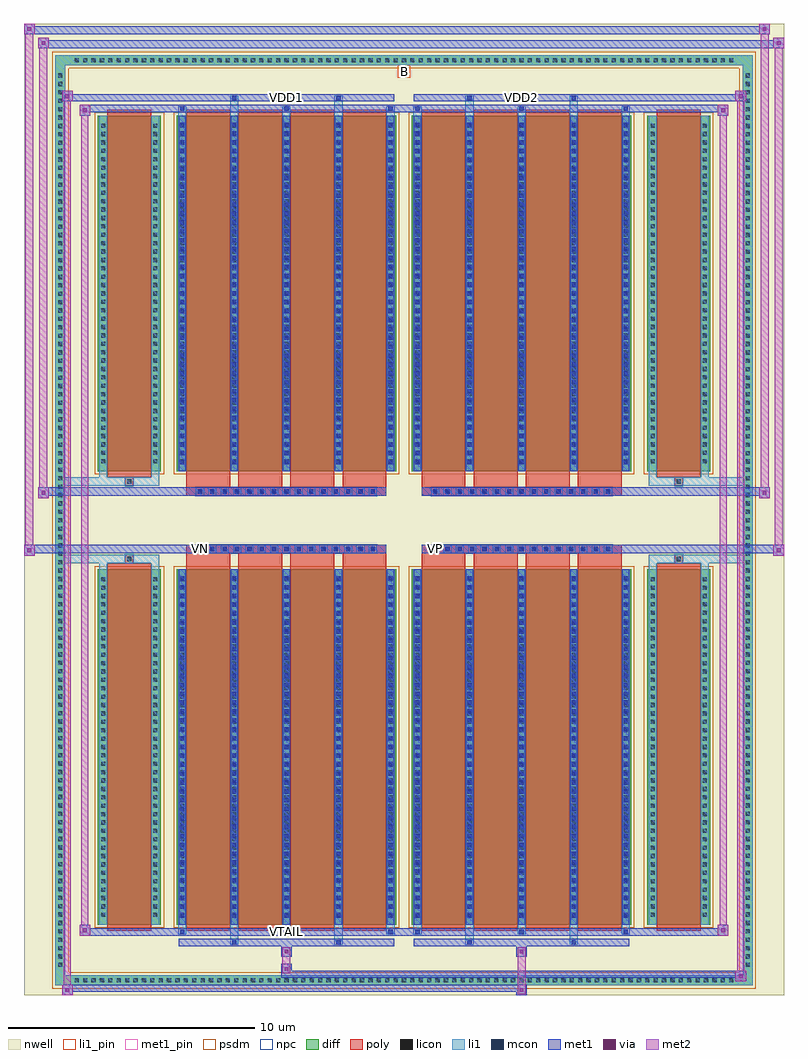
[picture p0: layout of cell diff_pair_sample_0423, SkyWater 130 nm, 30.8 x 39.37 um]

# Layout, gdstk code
import gdstk
lib = gdstk.Library(unit=1e-6, precision=5e-09)
def R(c, l, rs):  # rectangles x0, y0, x1, y1
    for r in rs: c.add(gdstk.rectangle(r[:2], r[2:], *l))
def A(c, l, x, y, w, h, nx, ny, dx, dy):  # array of equal rectangles
    R(c, l, [(x+i*dx, y+j*dy, x+i*dx+w, y+j*dy+h) for i in range(nx) for j in range(ny)])
def P(c, l, *ps):  # polygons
    for p in ps: c.add(gdstk.Polygon(p, *l))
nwell = (64, 20)
diff = (65, 20)
poly = (66, 20)
licon = (66, 44)
li1_pin = (67, 16)
li1 = (67, 20)
mcon = (67, 44)
met1_pin = (68, 16)
met1 = (68, 20)
via = (68, 44)
met2 = (69, 20)
psdm = (94, 20)
npc = (95, 20)

diff_pair_sample_0423 = lib.new_cell('diff_pair_sample_0423')
R(diff_pair_sample_0423, nwell, [(-15.4,-19.25,15.4,20.12), (-12.72,-17.44,-0.01,-0.8), (0.01,-17.44,12.72,-0.8), (-12.72,0.8,-0.01,17.44), (0.01,0.8,12.72,17.44)])
A(diff_pair_sample_0423, diff, -13.465, -18.85, 0.41, 0.41, 79, 2, 0.34, 37.29)
A(diff_pair_sample_0423, diff, -14.13, -18.225, 0.41, 0.41, 1, 107, 0, 0.34)
A(diff_pair_sample_0423, diff, 13.72, -18.225, 0.41, 0.41, 1, 107, 0, 0.34)
R(diff_pair_sample_0423, diff, [(-13.465,-18.85,13.465,-18.44), (-14.13,-18.225,-13.72,18.225), (13.72,-18.225,14.13,18.225), (-12.41,-16.395,-9.85,-1.985), (-9.21,-16.395,-0.32,-1.985), (0.32,-16.395,9.21,-1.985), (9.85,-16.395,12.41,-1.985), (-12.41,1.985,-9.85,16.395), (-9.21,1.985,-0.32,16.395), (0.32,1.985,9.21,16.395), (9.85,1.985,12.41,16.395), (-13.465,18.44,13.465,18.85)])
P(diff_pair_sample_0423, diff, [(14.13,18.85),(-14.13,18.85),(-14.13,-18.44),(-13.72,-18.44),(-13.72,18.44),(13.72,18.44),(13.72,-18.44),(-13.72,-18.44),(-14.13,-18.44),(-14.13,-18.85),(14.13,-18.85)])
A(diff_pair_sample_0423, poly, -8.82, -16.645, 1.78, 14.91, 4, 2, 2.11, 18.38)
A(diff_pair_sample_0423, poly, 0.71, -16.645, 1.78, 14.91, 4, 2, 2.11, 18.38)
A(diff_pair_sample_0423, poly, -8.82, -1.735, 1.78, 0.405, 4, 2, 2.11, 3.065)
A(diff_pair_sample_0423, poly, 0.71, -1.735, 1.78, 0.405, 4, 2, 2.11, 3.065)
A(diff_pair_sample_0423, poly, -8.43, -1.33, 0.33, 0.33, 15, 2, 0.5, 2.33)
A(diff_pair_sample_0423, poly, 1.1, -1.33, 0.33, 0.33, 15, 2, 0.5, 2.33)
R(diff_pair_sample_0423, poly, [(-12.02,-16.645,-10.24,-1.735), (10.24,-16.645,12.02,-1.735), (-11.295,-1.735,-10.965,-1.405), (-11.295,-1.735,-10.965,-1.405), (10.965,-1.735,11.295,-1.405), (10.965,-1.735,11.295,-1.405), (-8.82,-1.33,-0.71,-1), (0.71,-1.33,8.82,-1), (-8.82,1,-0.71,1.33), (0.71,1,8.82,1.33), (-11.295,1.405,-10.965,1.735), (-11.295,1.405,-10.965,1.735), (10.965,1.405,11.295,1.735), (10.965,1.405,11.295,1.735), (-12.02,1.735,-10.24,16.645), (10.24,1.735,12.02,16.645)])
A(diff_pair_sample_0423, licon, -13.345, -18.73, 0.17, 0.17, 79, 2, 0.34, 37.29)
A(diff_pair_sample_0423, licon, -14.01, -18.105, 0.17, 0.17, 1, 107, 0, 0.34)
A(diff_pair_sample_0423, licon, 13.84, -18.105, 0.17, 0.17, 1, 107, 0, 0.34)
A(diff_pair_sample_0423, licon, -12.27, -16.075, 0.17, 0.17, 1, 41, 0, 0.34)
A(diff_pair_sample_0423, licon, -10.16, -16.075, 0.17, 0.17, 1, 41, 0, 0.34)
A(diff_pair_sample_0423, licon, -9.07, -16.075, 0.17, 0.17, 5, 41, 2.11, 0.34)
A(diff_pair_sample_0423, licon, 0.46, -16.075, 0.17, 0.17, 5, 41, 2.11, 0.34)
A(diff_pair_sample_0423, licon, 9.99, -16.075, 0.17, 0.17, 1, 41, 0, 0.34)
A(diff_pair_sample_0423, licon, 12.1, -16.075, 0.17, 0.17, 1, 41, 0, 0.34)
A(diff_pair_sample_0423, licon, -8.35, -1.25, 0.17, 0.17, 15, 2, 0.5, 2.33)
A(diff_pair_sample_0423, licon, 1.18, -1.25, 0.17, 0.17, 15, 2, 0.5, 2.33)
A(diff_pair_sample_0423, licon, -12.27, 2.305, 0.17, 0.17, 1, 41, 0, 0.34)
A(diff_pair_sample_0423, licon, -10.16, 2.305, 0.17, 0.17, 1, 41, 0, 0.34)
A(diff_pair_sample_0423, licon, -9.07, 2.305, 0.17, 0.17, 5, 41, 2.11, 0.34)
A(diff_pair_sample_0423, licon, 0.46, 2.305, 0.17, 0.17, 5, 41, 2.11, 0.34)
A(diff_pair_sample_0423, licon, 9.99, 2.305, 0.17, 0.17, 1, 41, 0, 0.34)
A(diff_pair_sample_0423, licon, 12.1, 2.305, 0.17, 0.17, 1, 41, 0, 0.34)
R(diff_pair_sample_0423, licon, [(-11.215,-1.655,-11.045,-1.485), (11.045,-1.655,11.215,-1.485), (-11.215,1.485,-11.045,1.655), (11.045,1.485,11.215,1.655)])
R(diff_pair_sample_0423, li1_pin, [(-0.25,17.94,0.25,18.44)])
A(diff_pair_sample_0423, li1, -13.425, -18.81, 0.33, 0.33, 79, 2, 0.34, 37.29)
A(diff_pair_sample_0423, li1, -14.09, -18.185, 0.33, 0.33, 1, 107, 0, 0.34)
A(diff_pair_sample_0423, li1, 13.76, -18.185, 0.33, 0.33, 1, 107, 0, 0.34)
A(diff_pair_sample_0423, li1, -9.15, -16.77, 0.33, 0.375, 3, 2, 4.22, 33.165)
A(diff_pair_sample_0423, li1, -9.07, -16.77, 0.17, 0.17, 3, 2, 4.22, 33.37)
A(diff_pair_sample_0423, li1, 0.38, -16.77, 0.33, 0.375, 3, 2, 4.22, 33.165)
A(diff_pair_sample_0423, li1, 0.46, -16.77, 0.17, 0.17, 3, 2, 4.22, 33.37)
A(diff_pair_sample_0423, li1, -9.15, -16.395, 0.33, 14.41, 5, 2, 2.11, 18.38)
A(diff_pair_sample_0423, li1, 0.38, -16.395, 0.33, 14.41, 5, 2, 2.11, 18.38)
A(diff_pair_sample_0423, li1, -12.35, -16.155, 0.33, 0.33, 1, 41, 0, 0.34)
A(diff_pair_sample_0423, li1, -10.24, -16.155, 0.33, 0.33, 1, 41, 0, 0.34)
A(diff_pair_sample_0423, li1, -9.15, -16.155, 0.33, 0.33, 5, 41, 2.11, 0.34)
A(diff_pair_sample_0423, li1, 0.38, -16.155, 0.33, 0.33, 5, 41, 2.11, 0.34)
A(diff_pair_sample_0423, li1, 9.91, -16.155, 0.33, 0.33, 1, 41, 0, 0.34)
A(diff_pair_sample_0423, li1, 12.02, -16.155, 0.33, 0.33, 1, 41, 0, 0.34)
A(diff_pair_sample_0423, li1, -9.07, -16.115, 0.17, 0.17, 5, 39, 2.11, 0.36)
A(diff_pair_sample_0423, li1, -9.07, -16.115, 0.17, 13.85, 5, 2, 2.11, 18.38)
A(diff_pair_sample_0423, li1, 0.46, -16.115, 0.17, 0.17, 5, 39, 2.11, 0.36)
A(diff_pair_sample_0423, li1, 0.46, -16.115, 0.17, 13.85, 5, 2, 2.11, 18.38)
A(diff_pair_sample_0423, li1, -8.43, -1.33, 0.33, 0.33, 15, 2, 0.5, 2.33)
A(diff_pair_sample_0423, li1, 1.1, -1.33, 0.33, 0.33, 15, 2, 0.5, 2.33)
A(diff_pair_sample_0423, li1, -12.35, 2.225, 0.33, 0.33, 1, 41, 0, 0.34)
A(diff_pair_sample_0423, li1, -10.24, 2.225, 0.33, 0.33, 1, 41, 0, 0.34)
A(diff_pair_sample_0423, li1, -9.15, 2.225, 0.33, 0.33, 5, 41, 2.11, 0.34)
A(diff_pair_sample_0423, li1, 0.38, 2.225, 0.33, 0.33, 5, 41, 2.11, 0.34)
A(diff_pair_sample_0423, li1, 9.91, 2.225, 0.33, 0.33, 1, 41, 0, 0.34)
A(diff_pair_sample_0423, li1, 12.02, 2.225, 0.33, 0.33, 1, 41, 0, 0.34)
A(diff_pair_sample_0423, li1, -9.07, 2.265, 0.17, 0.17, 5, 39, 2.11, 0.36)
A(diff_pair_sample_0423, li1, 0.46, 2.265, 0.17, 0.17, 5, 39, 2.11, 0.36)
R(diff_pair_sample_0423, li1, [(-14.13,-18.85,-13.72,-18.44), (-14.13,-18.85,-13.72,-18.44), (-13.72,-18.85,13.72,-18.44), (13.72,-18.85,14.13,-18.44), (13.72,-18.85,14.13,-18.44), (-14.13,-18.44,-13.72,18.44), (13.72,-18.44,14.13,18.44), (-7.04,-17.2,-6.71,-16.395), (-6.96,-17.2,-6.79,-17.03), (-2.82,-17.2,-2.49,-16.395), (-2.74,-17.2,-2.57,-17.03), (2.49,-17.2,2.82,-16.395), (2.57,-17.2,2.74,-17.03), (6.71,-17.2,7.04,-16.395), (6.79,-17.2,6.96,-17.03), (-12.35,-16.395,-12.02,-1.985), (-10.24,-16.395,-9.91,-1.985), (9.91,-16.395,10.24,-1.985), (12.02,-16.395,12.35,-1.985), (-12.35,-1.985,-12.02,-1.405), (-10.24,-1.985,-9.91,-1.405), (9.91,-1.985,10.24,-1.405), (12.02,-1.985,12.35,-1.405), (-14.13,-1.735,-11.295,-1.405), (-12.35,-1.735,-11.295,-1.405), (-11.295,-1.735,-10.965,-1.405), (-10.965,-1.735,-9.91,-1.405), (9.91,-1.735,10.965,-1.405), (10.965,-1.735,11.295,-1.405), (10.965,-1.735,14.13,-1.405), (11.295,-1.735,12.35,-1.405), (-14.13,1.405,-11.295,1.735), (-12.35,1.405,-11.295,1.735), (-12.35,1.405,-12.02,1.985), (-11.295,1.405,-10.965,1.735), (-10.965,1.405,-9.91,1.735), (-10.24,1.405,-9.91,1.985), (9.91,1.405,10.965,1.735), (9.91,1.405,10.24,1.985), (10.965,1.405,11.295,1.735), (10.965,1.405,14.13,1.735), (11.295,1.405,12.35,1.735), (12.02,1.405,12.35,1.985), (-12.35,1.985,-12.02,16.395), (-10.24,1.985,-9.91,16.395), (9.91,1.985,10.24,16.395), (12.02,1.985,12.35,16.395), (-7.04,16.395,-6.71,17.2), (-2.82,16.395,-2.49,17.2), (2.49,16.395,2.82,17.2), (6.71,16.395,7.04,17.2), (-6.96,17.03,-6.79,17.2), (-2.74,17.03,-2.57,17.2), (2.57,17.03,2.74,17.2), (6.79,17.03,6.96,17.2), (-14.13,18.44,-13.72,18.85), (-14.13,18.44,-13.72,18.85), (-13.72,18.44,13.72,18.85), (13.72,18.44,14.13,18.85), (13.72,18.44,14.13,18.85)])
A(diff_pair_sample_0423, mcon, -9.07, -16.77, 0.17, 0.17, 3, 2, 4.22, 33.37)
A(diff_pair_sample_0423, mcon, 0.46, -16.77, 0.17, 0.17, 3, 2, 4.22, 33.37)
A(diff_pair_sample_0423, mcon, -9.07, -16.115, 0.17, 0.17, 5, 39, 2.11, 0.36)
A(diff_pair_sample_0423, mcon, 0.46, -16.115, 0.17, 0.17, 5, 39, 2.11, 0.36)
A(diff_pair_sample_0423, mcon, -8.35, -1.25, 0.17, 0.17, 15, 2, 0.5, 2.33)
A(diff_pair_sample_0423, mcon, 1.18, -1.25, 0.17, 0.17, 15, 2, 0.5, 2.33)
A(diff_pair_sample_0423, mcon, -9.07, 2.265, 0.17, 0.17, 5, 39, 2.11, 0.36)
A(diff_pair_sample_0423, mcon, 0.46, 2.265, 0.17, 0.17, 5, 39, 2.11, 0.36)
R(diff_pair_sample_0423, mcon, [(-6.96,-17.2,-6.79,-17.03), (-2.74,-17.2,-2.57,-17.03), (2.57,-17.2,2.74,-17.03), (6.79,-17.2,6.96,-17.03), (-6.96,17.03,-6.79,17.2), (-2.74,17.03,-2.57,17.2), (2.57,17.03,2.74,17.2), (6.79,17.03,6.96,17.2)])
R(diff_pair_sample_0423, met1_pin, [(-4.9,-16.81,-4.63,-16.54), (-8.4,-1.29,-8.13,-1.02), (1.13,-1.29,1.4,-1.02), (-4.9,16.99,-4.63,17.26), (4.63,16.99,4.9,17.26)])
A(diff_pair_sample_0423, met1, -9.13, -16.83, 0.29, 0.29, 3, 2, 4.22, 33.37)
A(diff_pair_sample_0423, met1, 0.4, -16.83, 0.29, 0.29, 3, 2, 4.22, 33.37)
A(diff_pair_sample_0423, met1, -9.13, -16.395, 0.29, 14.41, 5, 2, 2.11, 18.38)
A(diff_pair_sample_0423, met1, 0.4, -16.395, 0.29, 14.41, 5, 2, 2.11, 18.38)
A(diff_pair_sample_0423, met1, -9.13, -16.175, 0.29, 0.29, 5, 39, 2.11, 0.36)
A(diff_pair_sample_0423, met1, 0.4, -16.175, 0.29, 0.29, 5, 39, 2.11, 0.36)
A(diff_pair_sample_0423, met1, -8.41, -1.31, 0.29, 0.29, 15, 2, 0.5, 2.33)
A(diff_pair_sample_0423, met1, 1.12, -1.31, 0.29, 0.29, 15, 2, 0.5, 2.33)
A(diff_pair_sample_0423, met1, -9.13, 2.205, 0.29, 0.29, 5, 39, 2.11, 0.36)
A(diff_pair_sample_0423, met1, 0.4, 2.205, 0.29, 0.29, 5, 39, 2.11, 0.36)
R(diff_pair_sample_0423, met1, [(-13.86,-19.25,-13.43,-18.82), (4.55,-19.25,4.98,-18.82), (-13.86,-19.11,4.98,-18.82), (13.43,-18.68,13.86,-18.25), (-4.98,-18.54,13.86,-18.25), (-4.98,-18.4,-4.55,-17.97), (-4.98,-17.69,-4.55,-17.26), (4.55,-17.69,4.98,-17.26), (-9.13,-17.26,-0.4,-16.97), (-7.02,-17.26,-6.73,-16.97), (-2.8,-17.26,-2.51,-16.97), (0.4,-17.26,9.13,-16.97), (2.51,-17.26,2.8,-16.97), (6.73,-17.26,7.02,-16.97), (-13.15,-16.83,-12.72,-16.4), (-13.15,-16.83,-9.13,-16.54), (-9.13,-16.83,-0.4,-16.54), (-0.4,-16.83,0.4,-16.54), (0.4,-16.83,9.13,-16.54), (9.13,-16.83,13.15,-16.54), (12.72,-16.83,13.15,-16.4), (-15.4,-1.43,-14.97,-1), (14.97,-1.43,15.4,-1), (-15.4,-1.33,-0.71,-1), (-8.82,-1.33,-0.71,-1), (0.71,-1.33,8.82,-1), (0.71,-1.33,15.4,-1), (-14.83,0.9,-14.4,1.33), (14.4,0.9,14.83,1.33), (-14.83,1,-8.82,1.33), (-8.82,1,-0.71,1.33), (0.71,1,8.82,1.33), (8.82,1,14.83,1.33), (-13.15,16.4,-12.72,16.83), (12.72,16.4,13.15,16.83), (-13.15,16.54,-9.13,16.83), (-9.13,16.54,-0.4,16.83), (-0.4,16.54,0.4,16.83), (0.4,16.54,9.13,16.83), (9.13,16.54,13.15,16.83), (-13.86,16.97,-13.43,17.4), (-13.86,16.97,-9.13,17.26), (-9.13,16.97,-0.4,17.26), (-7.02,16.97,-6.73,17.26), (-2.8,16.97,-2.51,17.26), (0.4,16.97,9.13,17.26), (2.51,16.97,2.8,17.26), (6.73,16.97,7.02,17.26), (9.13,16.97,13.86,17.26), (13.43,16.97,13.86,17.4), (-14.83,19.12,-14.4,19.55), (-14.83,19.12,-12.72,19.45), (-12.72,19.12,12.72,19.45), (12.72,19.12,15.4,19.45), (14.97,19.12,15.4,19.55), (-15.4,19.69,-14.97,20.12), (-15.4,19.69,-12.72,20.02), (-12.72,19.69,12.72,20.02), (12.72,19.69,14.83,20.02), (14.4,19.69,14.83,20.12)])
R(diff_pair_sample_0423, via, [(-13.72,-19.11,-13.57,-18.96), (4.69,-19.11,4.84,-18.96), (13.57,-18.54,13.72,-18.39), (-4.84,-18.26,-4.69,-18.11), (-4.84,-17.55,-4.69,-17.4), (4.69,-17.55,4.84,-17.4), (-13.01,-16.69,-12.86,-16.54), (12.86,-16.69,13.01,-16.54), (-15.26,-1.29,-15.11,-1.14), (15.11,-1.29,15.26,-1.14), (-14.69,1.04,-14.54,1.19), (14.54,1.04,14.69,1.19), (-13.01,16.54,-12.86,16.69), (12.86,16.54,13.01,16.69), (-13.72,17.11,-13.57,17.26), (13.57,17.11,13.72,17.26), (-14.69,19.26,-14.54,19.41), (15.11,19.26,15.26,19.41), (-15.26,19.83,-15.11,19.98), (14.54,19.83,14.69,19.98)])
R(diff_pair_sample_0423, met2, [(-13.86,-19.25,-13.43,-18.82), (-13.79,-19.25,-13.5,17.4), (-13.5,-19.25,-13.43,-18.82), (-13.81,-19.2,-13.48,-18.87), (4.6,-19.2,4.93,-18.87), (4.6,-18.87,4.93,-17.64), (13.43,-18.68,13.86,-18.25), (13.5,-18.68,13.79,17.4), (13.79,-18.68,13.86,-18.25), (13.48,-18.63,13.81,-18.3), (-4.93,-18.35,-4.6,-18.02), (-4.93,-18.02,-4.6,-17.64), (-4.93,-17.64,-4.6,-17.31), (4.6,-17.64,4.93,-17.31), (-13.15,-16.83,-12.72,-16.4), (-13.08,-16.83,-12.79,16.83), (-12.79,-16.83,-12.72,-16.4), (12.72,-16.83,13.15,-16.4), (12.79,-16.83,13.08,16.83), (13.08,-16.83,13.15,-16.4), (-13.1,-16.78,-12.77,-16.45), (12.77,-16.78,13.1,-16.45), (-15.4,-1.43,-14.97,-1), (-15.35,-1.43,-15.02,20.12), (-15.02,-1.43,-14.97,-1), (14.97,-1.43,15.4,-1), (15.02,-1.43,15.35,19.55), (15.35,-1.43,15.4,-1), (-15.35,-1.38,-15.02,-1.05), (15.02,-1.38,15.35,-1.05), (-14.83,0.9,-14.4,1.33), (-14.78,0.9,-14.45,19.55), (-14.45,0.9,-14.4,1.33), (14.4,0.9,14.83,1.33), (14.45,0.9,14.78,20.12), (14.78,0.9,14.83,1.33), (-14.78,0.95,-14.45,1.28), (14.45,0.95,14.78,1.28), (-13.15,16.4,-12.72,16.83), (-12.79,16.4,-12.72,16.83), (12.72,16.4,13.15,16.83), (13.08,16.4,13.15,16.83), (-13.1,16.45,-12.77,16.78), (12.77,16.45,13.1,16.78), (-13.86,16.97,-13.43,17.4), (-13.5,16.97,-13.43,17.4), (13.43,16.97,13.86,17.4), (13.79,16.97,13.86,17.4), (-13.81,17.02,-13.48,17.35), (13.48,17.02,13.81,17.35), (-14.83,19.12,-14.4,19.55), (-14.45,19.12,-14.4,19.55), (14.97,19.12,15.4,19.55), (15.35,19.12,15.4,19.55), (-14.78,19.17,-14.45,19.5), (15.02,19.17,15.35,19.5), (-15.4,19.69,-14.97,20.12), (-15.02,19.69,-14.97,20.12), (14.4,19.69,14.83,20.12), (14.78,19.69,14.83,20.12), (-15.35,19.74,-15.02,20.07), (14.45,19.74,14.78,20.07)])
R(diff_pair_sample_0423, psdm, [(-12.54,-16.525,-9.72,-1.855), (-9.34,-16.525,-0.19,-1.855), (0.19,-16.525,9.34,-1.855), (9.72,-16.525,12.54,-1.855), (-12.54,1.855,-9.72,16.525), (-9.34,1.855,-0.19,16.525), (0.19,1.855,9.34,16.525), (9.72,1.855,12.54,16.525)])
P(diff_pair_sample_0423, psdm, [(14.26,18.98),(-14.26,18.98),(-14.26,-18.31),(-13.59,-18.31),(-13.59,18.31),(13.59,18.31),(13.59,-18.31),(-13.59,-18.31),(-14.26,-18.31),(-14.26,-18.98),(14.26,-18.98)])
A(diff_pair_sample_0423, npc, -8.45, -1.35, 0.37, 0.37, 15, 2, 0.5, 2.33)
A(diff_pair_sample_0423, npc, 1.08, -1.35, 0.37, 0.37, 15, 2, 0.5, 2.33)
R(diff_pair_sample_0423, npc, [(-11.315,-1.755,-10.945,-1.385), (10.945,-1.755,11.315,-1.385), (-8.45,-1.35,-7.58,-0.98), (-8.45,-1.35,-7.58,-0.98), (-7.95,-1.35,-7.08,-0.98), (-7.95,-1.35,-7.08,-0.98), (-7.45,-1.35,-6.58,-0.98), (-7.45,-1.35,-6.58,-0.98), (-6.95,-1.35,-6.08,-0.98), (-6.95,-1.35,-6.08,-0.98), (-6.45,-1.35,-5.58,-0.98), (-6.45,-1.35,-5.58,-0.98), (-5.95,-1.35,-5.08,-0.98), (-5.95,-1.35,-5.08,-0.98), (-5.45,-1.35,-4.58,-0.98), (-5.45,-1.35,-4.58,-0.98), (-4.95,-1.35,-4.08,-0.98), (-4.95,-1.35,-4.08,-0.98), (-4.45,-1.35,-3.58,-0.98), (-4.45,-1.35,-3.58,-0.98), (-3.95,-1.35,-3.08,-0.98), (-3.95,-1.35,-3.08,-0.98), (-3.45,-1.35,-2.58,-0.98), (-3.45,-1.35,-2.58,-0.98), (-2.95,-1.35,-2.08,-0.98), (-2.95,-1.35,-2.08,-0.98), (-2.45,-1.35,-1.58,-0.98), (-2.45,-1.35,-1.58,-0.98), (-1.95,-1.35,-1.08,-0.98), (-1.95,-1.35,-1.08,-0.98), (1.08,-1.35,1.95,-0.98), (1.08,-1.35,1.95,-0.98), (1.58,-1.35,2.45,-0.98), (1.58,-1.35,2.45,-0.98), (2.08,-1.35,2.95,-0.98), (2.08,-1.35,2.95,-0.98), (2.58,-1.35,3.45,-0.98), (2.58,-1.35,3.45,-0.98), (3.08,-1.35,3.95,-0.98), (3.08,-1.35,3.95,-0.98), (3.58,-1.35,4.45,-0.98), (3.58,-1.35,4.45,-0.98), (4.08,-1.35,4.95,-0.98), (4.08,-1.35,4.95,-0.98), (4.58,-1.35,5.45,-0.98), (4.58,-1.35,5.45,-0.98), (5.08,-1.35,5.95,-0.98), (5.08,-1.35,5.95,-0.98), (5.58,-1.35,6.45,-0.98), (5.58,-1.35,6.45,-0.98), (6.08,-1.35,6.95,-0.98), (6.08,-1.35,6.95,-0.98), (6.58,-1.35,7.45,-0.98), (6.58,-1.35,7.45,-0.98), (7.08,-1.35,7.95,-0.98), (7.08,-1.35,7.95,-0.98), (7.58,-1.35,8.45,-0.98), (7.58,-1.35,8.45,-0.98), (-8.45,0.98,-7.58,1.35), (-8.45,0.98,-7.58,1.35), (-7.95,0.98,-7.08,1.35), (-7.95,0.98,-7.08,1.35), (-7.45,0.98,-6.58,1.35), (-7.45,0.98,-6.58,1.35), (-6.95,0.98,-6.08,1.35), (-6.95,0.98,-6.08,1.35), (-6.45,0.98,-5.58,1.35), (-6.45,0.98,-5.58,1.35), (-5.95,0.98,-5.08,1.35), (-5.95,0.98,-5.08,1.35), (-5.45,0.98,-4.58,1.35), (-5.45,0.98,-4.58,1.35), (-4.95,0.98,-4.08,1.35), (-4.95,0.98,-4.08,1.35), (-4.45,0.98,-3.58,1.35), (-4.45,0.98,-3.58,1.35), (-3.95,0.98,-3.08,1.35), (-3.95,0.98,-3.08,1.35), (-3.45,0.98,-2.58,1.35), (-3.45,0.98,-2.58,1.35), (-2.95,0.98,-2.08,1.35), (-2.95,0.98,-2.08,1.35), (-2.45,0.98,-1.58,1.35), (-2.45,0.98,-1.58,1.35), (-1.95,0.98,-1.08,1.35), (-1.95,0.98,-1.08,1.35), (1.08,0.98,1.95,1.35), (1.08,0.98,1.95,1.35), (1.58,0.98,2.45,1.35), (1.58,0.98,2.45,1.35), (2.08,0.98,2.95,1.35), (2.08,0.98,2.95,1.35), (2.58,0.98,3.45,1.35), (2.58,0.98,3.45,1.35), (3.08,0.98,3.95,1.35), (3.08,0.98,3.95,1.35), (3.58,0.98,4.45,1.35), (3.58,0.98,4.45,1.35), (4.08,0.98,4.95,1.35), (4.08,0.98,4.95,1.35), (4.58,0.98,5.45,1.35), (4.58,0.98,5.45,1.35), (5.08,0.98,5.95,1.35), (5.08,0.98,5.95,1.35), (5.58,0.98,6.45,1.35), (5.58,0.98,6.45,1.35), (6.08,0.98,6.95,1.35), (6.08,0.98,6.95,1.35), (6.58,0.98,7.45,1.35), (6.58,0.98,7.45,1.35), (7.08,0.98,7.95,1.35), (7.08,0.98,7.95,1.35), (7.58,0.98,8.45,1.35), (7.58,0.98,8.45,1.35), (-11.315,1.385,-10.945,1.755), (10.945,1.385,11.315,1.755)])
diff_pair_sample_0423.add(gdstk.Label('VTAIL', (-4.765,-16.675), layer=68, texttype=5))
diff_pair_sample_0423.add(gdstk.Label('VN', (-8.265,-1.155), layer=68, texttype=5))
diff_pair_sample_0423.add(gdstk.Label('VP', (1.265,-1.155), layer=68, texttype=5))
diff_pair_sample_0423.add(gdstk.Label('B', (0,18.19), layer=67, texttype=5))
diff_pair_sample_0423.add(gdstk.Label('VDD2', (4.765,17.125), layer=68, texttype=5))
diff_pair_sample_0423.add(gdstk.Label('VDD1', (-4.765,17.125), layer=68, texttype=5))

lib.write_gds('diff_pair_sample_0423.gds')
